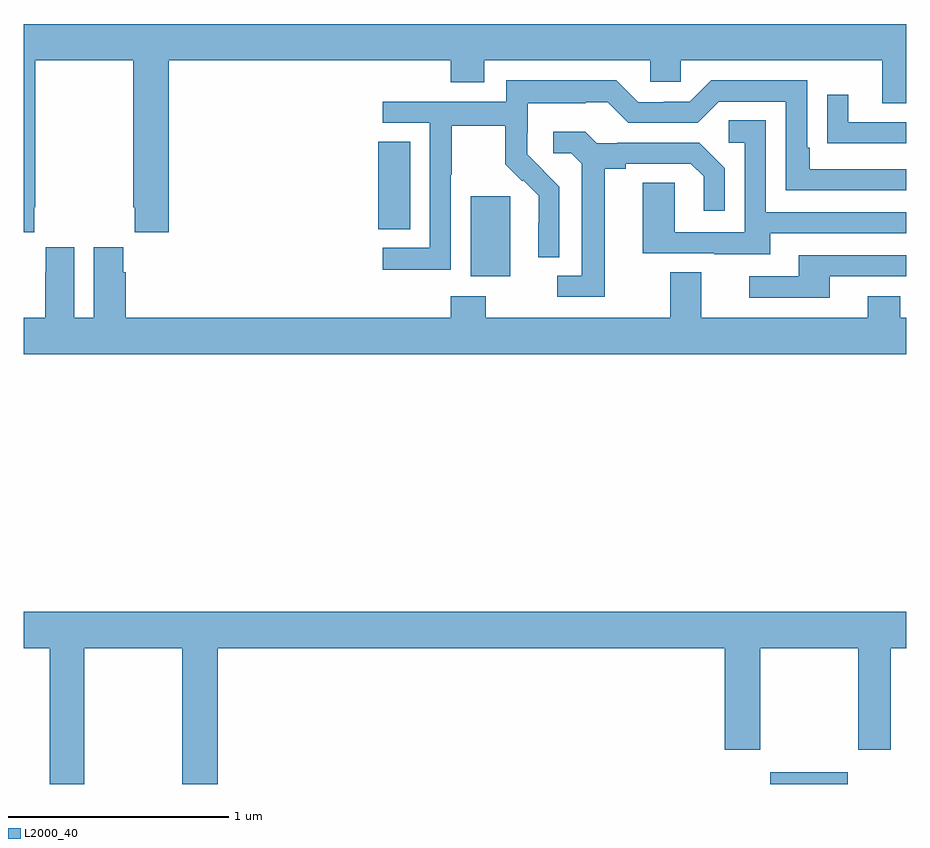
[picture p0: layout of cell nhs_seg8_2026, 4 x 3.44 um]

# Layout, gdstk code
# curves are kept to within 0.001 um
import gdstk
lib = gdstk.Library(unit=1e-6, precision=1e-09)
def R(c, l, rs):  # rectangles x0, y0, x1, y1
    for r in rs: c.add(gdstk.rectangle(r[:2], r[2:], *l))
def P(c, l, *ps):  # polygons
    for p in ps: c.add(gdstk.Polygon(p, *l))
L2000_40 = (2000, 40)

nhs_seg8_2026 = lib.new_cell('nhs_seg8_2026')
R(nhs_seg8_2026, L2000_40, [(242.384,1099.9,242.734,1099.954), (241.025,1102.202,241.204,1102.563), (240.608,1102.414,240.751,1102.811)])
P(nhs_seg8_2026, L2000_40, [(239,1102.401),(239.049,1102.401),(239.049,1102.513),(239.052,1102.513),(239.052,1103.18),(239.497,1103.18),(239.497,1102.513),(239.503,1102.513),(239.503,1102.401),(239.657,1102.401),(239.657,1103.18),(240.935,1103.18),(240.935,1103.081),(241.087,1103.081),(241.087,1103.18),(241.839,1103.18),(241.839,1103.082),(241.977,1103.082),(241.977,1103.18),(242.891,1103.18),(242.891,1102.986),(243,1102.986),(243,1103.344),(239,1103.344)],
  [(240.936,1102.66),(240.939,1102.66),(240.939,1102.884),(241.183,1102.884),(241.183,1102.709),(241.26,1102.632),(241.263,1102.635),(241.334,1102.565),(241.334,1102.442),(241.332,1102.442),(241.332,1102.288),(241.428,1102.288),(241.428,1102.606),(241.282,1102.754),(241.282,1102.851),(241.284,1102.851),(241.284,1102.985),(241.547,1102.985),(241.547,1102.989),(241.647,1102.989),(241.74,1102.896),(242.055,1102.896),(242.151,1102.992),(242.454,1102.992),(242.454,1102.59),(243,1102.59),(243,1102.686),(242.563,1102.686),(242.563,1102.783),(242.55,1102.783),(242.55,1103.088),(242.115,1103.088),(242.019,1102.992),(241.901,1102.992),(241.901,1102.989),(241.785,1102.989),(241.685,1103.089),(241.188,1103.089),(241.188,1102.992),(240.627,1102.992),(240.627,1102.896),(240.84,1102.896),(240.84,1102.329),(240.627,1102.329),(240.627,1102.231),(240.936,1102.231)],
  [(243,1102.899),(242.737,1102.899),(242.737,1103.023),(242.641,1103.023),(242.641,1102.804),(242.743,1102.804),(242.743,1102.803),(243,1102.803)],
  [(242.383,1102.395),(243,1102.395),(243,1102.491),(242.364,1102.491),(242.364,1102.907),(242.196,1102.907),(242.196,1102.806),(242.268,1102.806),(242.268,1102.401),(241.95,1102.401),(241.95,1102.625),(241.805,1102.625),(241.805,1102.305),(242.129,1102.305),(242.129,1102.301),(242.383,1102.301)],
  [(241.633,1102.688),(241.729,1102.688),(241.729,1102.71),(242.024,1102.71),(242.081,1102.653),(242.081,1102.497),(242.178,1102.497),(242.178,1102.69),(242.062,1102.806),(241.69,1102.806),(241.69,1102.803),(241.596,1102.803),(241.544,1102.855),(241.401,1102.855),(241.401,1102.758),(241.482,1102.758),(241.529,1102.711),(241.529,1102.203),(241.419,1102.203),(241.419,1102.107),(241.633,1102.107)],
  [(243,1102.012),(242.973,1102.012),(242.973,1102.111),(242.825,1102.111),(242.825,1102.012),(242.071,1102.012),(242.071,1102.22),(241.931,1102.22),(241.931,1102.012),(241.095,1102.012),(241.095,1102.111),(240.935,1102.111),(240.935,1102.012),(239.462,1102.012),(239.462,1102.22),(239.452,1102.22),(239.452,1102.333),(239.318,1102.333),(239.318,1102.012),(239.23,1102.012),(239.23,1102.333),(239.1,1102.333),(239.1,1102.22),(239.099,1102.22),(239.099,1102.012),(239,1102.012),(239,1101.848),(243,1101.848)],
  [(242.653,1102.2),(243,1102.2),(243,1102.296),(242.513,1102.296),(242.513,1102.2),(242.289,1102.2),(242.289,1102.104),(242.653,1102.104)],
  [(239,1100.516),(239.119,1100.516),(239.119,1099.9),(239.274,1099.9),(239.274,1100.516),(239.719,1100.516),(239.719,1099.9),(239.879,1099.9),(239.879,1100.516),(242.177,1100.516),(242.177,1100.055),(242.337,1100.055),(242.337,1100.516),(242.782,1100.516),(242.782,1100.055),(242.929,1100.055),(242.929,1100.516),(243,1100.516),(243,1100.68),(239,1100.68)])

lib.write_gds('nhs_seg8_2026.gds')
